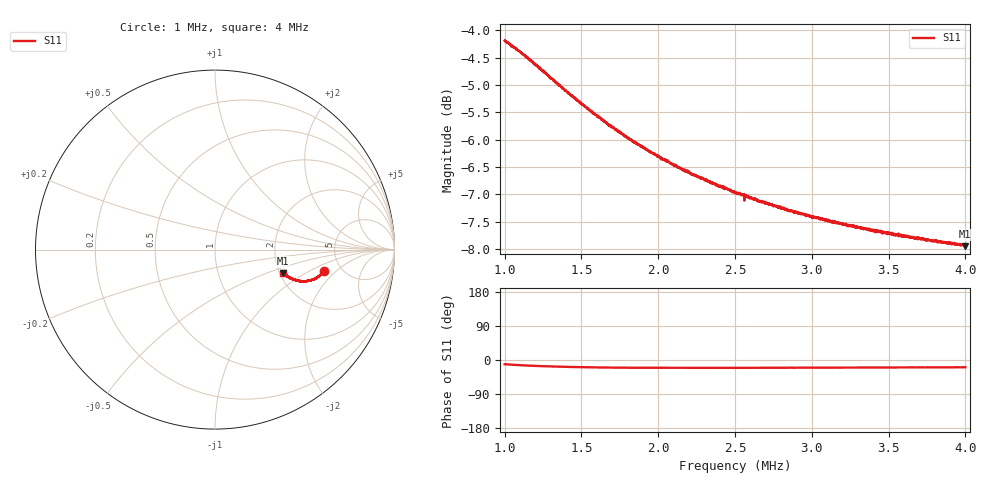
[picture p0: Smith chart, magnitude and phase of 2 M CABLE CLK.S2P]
!Keysight Technologies,E5063A,MY54504603,A.05.08
!Date: Thu Nov 19 06:21:18 2026
!Data & Calibration Information:
!Freq	S11:NONE(--)	S21:NONE(--)	S12:NONE(--)	S22:NONE(--)
# Hz S dB R 50
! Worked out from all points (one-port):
!   2000 points, 1 MHz to 4 MHz, reference 50 ohm
!   lowest |S11| = -7.9 dB at 3.998 MHz (marker M1), VSWR 2.34, Z = 104 - j32.8 ohm
!   |S11| at or under -10 dB: nowhere
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1000000  -4.19 -11.2  -200.00 0.0  -200.00 0.0  -200.00 0.0
1018009  -4.23 -11.6  -200.00 0.0  -200.00 0.0  -200.00 0.0
1070535  -4.33 -13.0  -200.00 0.0  -200.00 0.0  -200.00 0.0
1117059  -4.43 -13.9  -200.00 0.0  -200.00 0.0  -200.00 0.0
1160580  -4.54 -14.9  -200.00 0.0  -200.00 0.0  -200.00 0.0
1214607  -4.66 -15.8  -200.00 0.0  -200.00 0.0  -200.00 0.0
1276138  -4.82 -16.7  -200.00 0.0  -200.00 0.0  -200.00 0.0
1337669  -4.96 -17.4  -200.00 0.0  -200.00 0.0  -200.00 0.0
1405203  -5.12 -18.2  -200.00 0.0  -200.00 0.0  -200.00 0.0
1501251  -5.34 -18.9  -200.00 0.0  -200.00 0.0  -200.00 0.0
1597299  -5.55 -19.6  -200.00 0.0  -200.00 0.0  -200.00 0.0
1691846  -5.74 -20.0  -200.00 0.0  -200.00 0.0  -200.00 0.0
1828414  -6.01 -20.4  -200.00 0.0  -200.00 0.0  -200.00 0.0
2001000  -6.31 -20.7  -200.00 0.0  -200.00 0.0  -200.00 0.0
2223112  -6.63 -20.8  -200.00 0.0  -200.00 0.0  -200.00 0.0
2500750  -6.96 -20.7  -200.00 0.0  -200.00 0.0  -200.00 0.0
2658329  -7.14 -20.5  -200.00 0.0  -200.00 0.0  -200.00 0.0
3000500  -7.41 -20.2  -200.00 0.0  -200.00 0.0  -200.00 0.0
3242121  -7.58 -20.0  -200.00 0.0  -200.00 0.0  -200.00 0.0
3500250  -7.72 -19.7  -200.00 0.0  -200.00 0.0  -200.00 0.0
3998499  -7.95 -19.4  -200.00 0.0  -200.00 0.0  -200.00 0.0
4000000  -7.95 -19.2  -200.00 0.0  -200.00 0.0  -200.00 0.0
